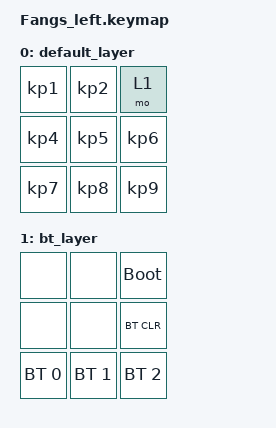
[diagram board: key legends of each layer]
#include <behaviors.dtsi>
#include <dt-bindings/zmk/keys.h>
#include <dt-bindings/zmk/bt.h>




/ {
        keymap {
                compatible = "zmk,keymap";

                default_layer {

                        bindings = <
&kp  KP_N1      &kp  KP_N2        &mo 1
&kp  KP_N4      &kp  KP_N5        &kp  KP_N6
&kp  KP_N7      &kp  KP_N8        &kp  KP_N9      
   
                        >;
                };
                bt_layer {

                        bindings = <
&none    &none       &bootloader
&none      &none        &bt BT_CLR
&bt BT_SEL 0      &bt BT_SEL 1        &bt BT_SEL 2   
 >;               
                };
               
        };
};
